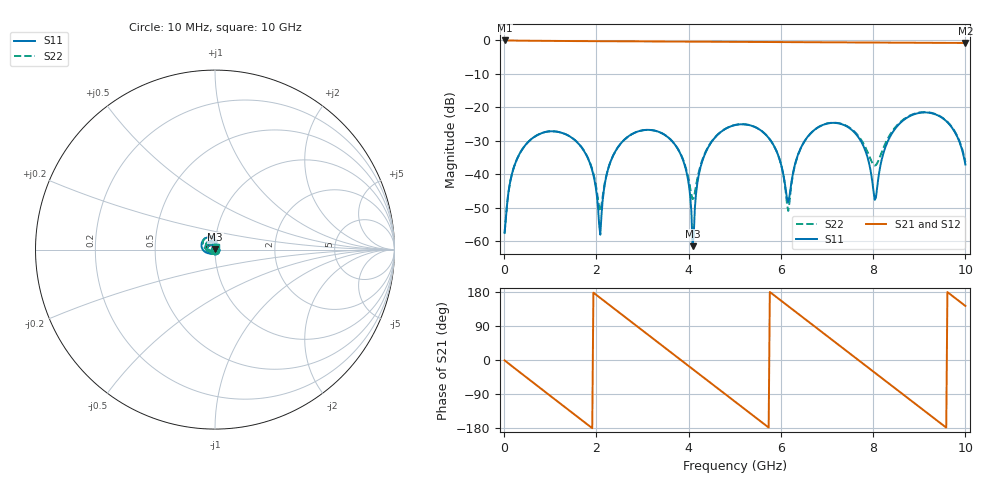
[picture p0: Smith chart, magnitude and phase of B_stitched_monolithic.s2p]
! Channel segmentation validation - 38 mm 50 ohm symmetric stripline coupon
! Case: Coupon B (with stitching vias) - monolithic full-wave solve, no cut
! Solver: Ansys HFSS 3D Layout 2026 R1, broadband adaptive 1-5 GHz,
!  Delta S 0.02, interpolating sweep 10 MHz - 10 GHz
# GHz S MA R 50.000000
! Terminal data exported
! Port[1] = U1.PAD1.SIG
! Port[2] = U2.PAD1.SIG
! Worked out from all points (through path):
!   401 points, 10 MHz to 10 GHz, reference 50 ohm
!   highest |S21| = -0.01 dB at 10 MHz (marker M1); lowest = -0.8 dB at 10 GHz (marker M2)
!   group delay of S21, straight-line fit = 260 ps
!   lowest |S11| = -61.4 dB at 4.085 GHz (marker M3), VSWR 1.00, Z = 50.1 + j0.0607 ohm
!   |S11| at or under -10 dB: start of sweep to end of sweep
!   |S22| runs from -57.4 to -21.4 dB; largest |S21 - S12| = 3.7e-14
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0.01  0.001345 -15.1  0.9986 -1.0  0.9986 -1.0  0.001345 -15.1
0.21  0.01274 -93.4  0.9941 -20.1  0.9941 -20.1  0.01274 -93.4
0.535  0.03122 -132.6  0.9889 -50.8  0.9889 -50.8  0.0312 -132.6
1.085  0.04397 171.8  0.9821 -102.5  0.9821 -102.5  0.044 172.4
1.685  0.02502 113.2  0.9768 -158.9  0.9768 -158.9  0.02526 118.5
2.085  0.001262 -31.1  0.9736 163.6  0.9736 163.6  0.002846 169.4
2.46  0.02509 -135.5  0.9701 128.4  0.9701 128.4  0.02508 -147.8
3.36  0.04299 137.9  0.9622 44.1  0.9622 44.1  0.04301 133.7
3.86  0.01765 90.0  0.9591 -2.7  0.9591 -2.7  0.018 96.2
4.085  0.0008514 45.4  0.9576 -23.8  0.9576 -23.8  0.004293 143.4
4.385  0.02257 -137.2  0.9551 -51.9  0.9551 -51.9  0.02308 -156.1
5.01  0.05462 164.3  0.9494 -110.4  0.9494 -110.4  0.05485 153.8
5.785  0.03156 95.8  0.9449 177.1  0.9449 177.1  0.03166 87.4
6.16  0.003871 150.0  0.9428 142.0  0.9428 142.0  0.002863 143.8
6.385  0.02093 -157.6  0.9411 120.9  0.9411 120.9  0.02067 -159.2
6.685  0.04367 180.0  0.9383 92.8  0.9383 92.8  0.04362 178.6
7.585  0.04311 95.8  0.9323 8.7  0.9323 8.7  0.04422 108.0
8.035  0.004178 -19.0  0.9302 -33.5  0.9302 -33.5  0.01357 139.8
8.335  0.03319 -141.8  0.9276 -61.6  0.9276 -61.6  0.03604 -177.6
8.81  0.0751 169.9  0.9224 -106.1  0.9224 -106.1  0.07642 153.0
9.31  0.08053 123.5  0.9188 -152.7  0.9188 -152.7  0.08141 112.5
10  0.0141 81.4  0.9172 142.6  0.9172 142.6  0.0153 79.3
